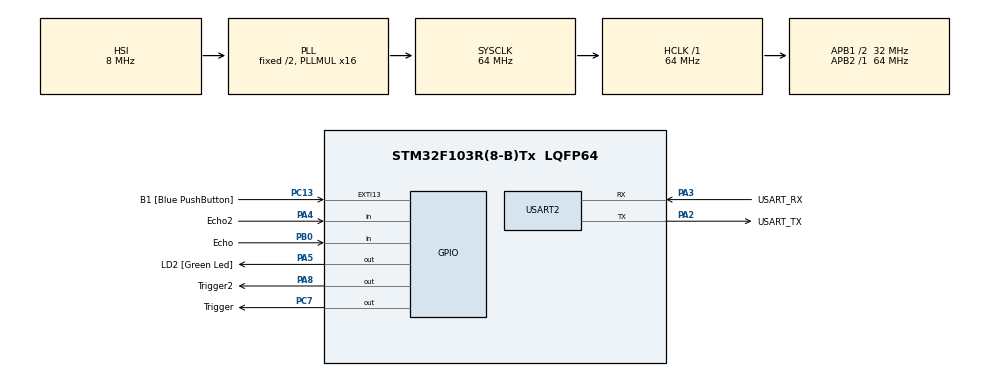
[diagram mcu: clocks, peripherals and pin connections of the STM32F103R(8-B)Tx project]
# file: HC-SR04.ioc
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Mcu.Family=STM32F1
Mcu.Name=STM32F103R(8-B)Tx
Mcu.Package=LQFP64
NVIC.EXTI15_10_IRQn=true\:0\:0\:false\:false\:true\:true\:true\:true
NVIC.PriorityGroup=NVIC_PRIORITYGROUP_4
PA13.GPIO_Label=TMS
PA13.Mode=Serial_Wire
PA13.Signal=SYS_JTMS-SWDIO
PA14.GPIO_Label=TCK
PA14.Mode=Serial_Wire
PA14.Signal=SYS_JTCK-SWCLK
PA2.GPIO_Label=USART_TX
PA2.GPIO_Mode=GPIO_MODE_AF_PP
PA2.GPIO_PuPd=GPIO_NOPULL
PA2.GPIO_Speed=GPIO_SPEED_FREQ_LOW
PA2.Mode=Asynchronous
PA2.Signal=USART2_TX
PA3.GPIO_Label=USART_RX
PA3.GPIO_Mode=GPIO_MODE_AF_PP
PA3.GPIO_PuPd=GPIO_NOPULL
PA3.GPIO_Speed=GPIO_SPEED_FREQ_LOW
PA3.Mode=Asynchronous
PA3.Signal=USART2_RX
PA4.GPIO_Label=Echo2
PA4.Signal=GPIO_Input
PA5.GPIO_Label=LD2 [Green Led]
PA5.GPIO_ModeDefaultOutputPP=GPIO_MODE_OUTPUT_PP
PA5.GPIO_PuPd=GPIO_NOPULL
PA5.GPIO_Speed=GPIO_SPEED_FREQ_LOW
PA5.Signal=GPIO_Output
PA8.GPIO_Label=Trigger2
PA8.Signal=GPIO_Output
PB0.GPIO_Label=Echo
PB0.Signal=GPIO_Input
PB3.GPIO_Label=SWO
PB3.Signal=SYS_JTDO-TRACESWO
PC13-TAMPER-RTC.GPIO_Label=B1 [Blue PushButton]
PC13-TAMPER-RTC.GPIO_PuPd=GPIO_NOPULL
PC13-TAMPER-RTC.Signal=GPXTI13
PC14-OSC32_IN.Signal=RCC_OSC32_IN
PC15-OSC32_OUT.Signal=RCC_OSC32_OUT
PC7.GPIO_Label=Trigger
PC7.Signal=GPIO_Output
PD0-OSC_IN.Signal=RCC_OSC_IN
PD1-OSC_OUT.Signal=RCC_OSC_OUT
ProjectManager.HeapSize=0x200
ProjectManager.StackSize=0x400
ProjectManager.TargetToolchain=STM32CubeIDE
RCC.AHBFreq_Value=64000000
RCC.APB1CLKDivider=RCC_HCLK_DIV2
RCC.APB1Freq_Value=32000000
RCC.APB1TimFreq_Value=64000000
RCC.APB2Freq_Value=64000000
RCC.APB2TimFreq_Value=64000000
RCC.HCLKFreq_Value=64000000
RCC.PLLMUL=RCC_PLL_MUL16
RCC.RTCClockSelection=RCC_RTCCLKSOURCE_LSE
RCC.SYSCLKFreq_VALUE=64000000
RCC.SYSCLKSource=RCC_SYSCLKSOURCE_PLLCLK
RCC.USBFreq_Value=64000000
TIM1.Prescaler=64-1
TIM2.Prescaler=64-1
USART2.VirtualMode=VM_ASYNC
VP_TIM1_VS_ClockSourceINT.Mode=Internal
VP_TIM2_VS_ClockSourceINT.Mode=Internal
board=NUCLEO-F103RB

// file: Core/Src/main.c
/* USER CODE BEGIN Header */
/**
 ******************************************************************************
 * @file           : main.c
 * @brief          : Main program body
 ******************************************************************************
 * @attention
 *
 * Copyright (c) 2025 STMicroelectronics.
 * All rights reserved.
 *
 * This software is licensed under terms that can be found in the LICENSE file
 * in the root directory of this software component.
 * If no LICENSE file comes with this software, it is provided AS-IS.
 *
 ******************************************************************************
 */
/* USER CODE END Header */
#include "main.h"
#include "stdio.h"

TIM_HandleTypeDef htim1;
TIM_HandleTypeDef htim2;

UART_HandleTypeDef huart2;

/* USER CODE BEGIN PV */
int HIGH = 1;
int LOW = 0;
/* USER CODE END PV */

void SystemClock_Config(void);
static void MX_GPIO_Init(void);
static void MX_USART2_UART_Init(void);
static void MX_TIM1_Init(void);
static void MX_TIM2_Init(void);

/* USER CODE BEGIN 0 */
#ifdef __GNUC__
#define PUTCHAR_PROTOTYPE int __io_putchar(int ch)
#else
#define PUTCHAR_PROTOTYPE int fputc(int ch, FILE *f)
#endif

PUTCHAR_PROTOTYPE {
	if (ch == '\n')
		HAL_UART_Transmit(&huart2, (uint8_t*) "\r", 1, 0xFFFF);

	HAL_UART_Transmit(&huart2, (uint8_t*) &ch, 1, 0xFFFF);

	return ch;

}

//void timer_start(void) {
//	HAL_TIM_Base_Start(&htim1);
//}
void timer_start(TIM_HandleTypeDef * htim) {
	HAL_TIM_Base_Start(htim);
}

//void delay_us(uint16_t us) {
//	__HAL_TIM_SET_COUNTER(&htim1, 0); // initislize counter to start from 0
//	while ((__HAL_TIM_GET_COUNTER(&htim1)) < us)
//		; // wait count until us
//}

void delay_us(uint16_t us, TIM_HandleTypeDef * htim) {
	__HAL_TIM_SET_COUNTER(htim, 0); // initislize counter to start from 0
	while ((__HAL_TIM_GET_COUNTER(htim)) < us)
		; // wait count until us
}

//////////////////////////////////
//void trig1(GPIO_TypeDef* GPIO_Port, uint16_t GPIO_Pin) {
//	HAL_GPIO_WritePin(Trigger_GPIO_Port, Trigger_Pin, HIGH);
//
//	delay_us(10);
//	HAL_GPIO_WritePin(Trigger_GPIO_Port, Trigger_Pin, LOW);
//}

//void trig(GPIO_TypeDef* GPIO_Port, uint16_t GPIO_Pin) {
//	HAL_GPIO_WritePin(GPIO_Port, GPIO_Pin, HIGH);
//
//	delay_us(10);
//	HAL_GPIO_WritePin(GPIO_Port, GPIO_Pin, LOW);
//}

void trig(GPIO_TypeDef* GPIO_Port, uint16_t GPIO_Pin, TIM_HandleTypeDef * htim) {
	HAL_GPIO_WritePin(GPIO_Port, GPIO_Pin, HIGH);

	delay_us(10,htim);
	HAL_GPIO_WritePin(GPIO_Port, GPIO_Pin, LOW);
}

/**
 * @brief echo 신호가 HIGH를 유지하는 시간을 (㎲)단위로 측정하여 리턴한다.
 * @param no param(void)
 */
//long unsigned int echo(void) {
//	long unsigned int echo = 0;
//
//	while (HAL_GPIO_ReadPin(Echo_GPIO_Port, Echo_Pin) == LOW) {
//	}
//	__HAL_TIM_SET_COUNTER(&htim1, 0);
//	while (HAL_GPIO_ReadPin(Echo_GPIO_Port, Echo_Pin) == HIGH)
//		;
//	echo = __HAL_TIM_GET_COUNTER(&htim1);
//	if (echo >= 240 && echo <= 23000)
//		return echo;
//	else
//		return 0;
//}

//long unsigned int echo(GPIO_TypeDef* GPIO_Port, uint16_t GPIO_Pin) {
//	long unsigned int echo = 0;
//
//	while (HAL_GPIO_ReadPin(GPIO_Port, GPIO_Pin) == LOW) {
//	}
//	__HAL_TIM_SET_COUNTER(&htim1, 0);
//	while (HAL_GPIO_ReadPin(GPIO_Port, GPIO_Pin) == HIGH)
//		;
//	echo = __HAL_TIM_GET_COUNTER(&htim1);
//	if (echo >= 240 && echo <= 23000)
//		return echo;
//	else
//		return 0;
//}

long unsigned int echo(GPIO_TypeDef* GPIO_Port, uint16_t GPIO_Pin, TIM_HandleTypeDef * htim) {
	long unsigned int echo = 0;

	while (HAL_GPIO_ReadPin(GPIO_Port, GPIO_Pin) == LOW) {
	}
	__HAL_TIM_SET_COUNTER(htim, 0);
	while (HAL_GPIO_ReadPin(GPIO_Port, GPIO_Pin) == HIGH)
		;
	echo = __HAL_TIM_GET_COUNTER(htim);
	if (echo >= 240 && echo <= 23000)
		return echo;
	else
		return 0;
}
/* USER CODE END 0 */

int main(void)
{

  /* MCU Configuration--------------------------------------------------------*/

  /* Reset of all peripherals, Initializes the Flash interface and the Systick. */
  HAL_Init();

  /* Configure the system clock */
  SystemClock_Config();

  /* Initialize all configured peripherals */
  MX_GPIO_Init();
  MX_USART2_UART_Init();
  MX_TIM1_Init();
  MX_TIM2_Init();
  /* USER CODE BEGIN 2 */

	//timer_start();

	timer_start(&htim1);
	timer_start(&htim2);

	printf("Ranging with HC-SR04\n");
	long unsigned int echo_time_right;
	long unsigned int echo_time_left;
	int dist_right;
	int dist_left;

  /* USER CODE END 2 */

  /* Infinite loop */
  /* USER CODE BEGIN WHILE */
	while (1) {
		//HAL_UART_Receive(&huart2, &ch, 1, HAL_MAX_DELAY);

//	    trig();
//	    echo_time = echo();
//	    if( echo_time != 0){
//	        dist = (int)(17 * echo_time / 100);
//	        printf("Distance = %d(mm)\n", dist);
//	        HAL_Delay(1000);
//	    }
//	    else {
//	    	printf("Out of Range!\n");
//	    	HAL_Delay(1000);
//	    }

		trig(Trigger_GPIO_Port,Trigger_Pin,&htim1);
		echo_time_right = echo(Echo_GPIO_Port, Echo_Pin,&htim1);

		trig(Trigger2_GPIO_Port,Trigger2_Pin,&htim2);
		echo_time_left = echo(Echo2_GPIO_Port, Echo2_Pin,&htim2);

	    if( echo_time_right != 0 || echo_time_left !=0){
	        dist_right = (int)(17 * echo_time_right / 100);
	        dist_left = (int)(17 * echo_time_left / 100);
	        printf("1: Distance = %d(mm) | 2: Distance = %d(mm)\n", dist_right,dist_left);
	        HAL_Delay(500);
	    }
	    else {
	    	printf("Out of Range!\n");
	    	HAL_Delay(500);
	    }
    /* USER CODE END WHILE */

	}
}

void SystemClock_Config(void)
{
  RCC_OscInitTypeDef RCC_OscInitStruct = {0};
  RCC_ClkInitTypeDef RCC_ClkInitStruct = {0};

  /** Initializes the RCC Oscillators according to the specified parameters
  * in the RCC_OscInitTypeDef structure.
  */
  RCC_OscInitStruct.OscillatorType = RCC_OSCILLATORTYPE_HSI;
  RCC_OscInitStruct.HSIState = RCC_HSI_ON;
  RCC_OscInitStruct.HSICalibrationValue = RCC_HSICALIBRATION_DEFAULT;
  RCC_OscInitStruct.PLL.PLLState = RCC_PLL_ON;
  RCC_OscInitStruct.PLL.PLLSource = RCC_PLLSOURCE_HSI_DIV2;
  RCC_OscInitStruct.PLL.PLLMUL = RCC_PLL_MUL16;
  if (HAL_RCC_OscConfig(&RCC_OscInitStruct) != HAL_OK)
  {
    Error_Handler();
  }

  /** Initializes the CPU, AHB and APB buses clocks
  */
  RCC_ClkInitStruct.ClockType = RCC_CLOCKTYPE_HCLK|RCC_CLOCKTYPE_SYSCLK
                              |RCC_CLOCKTYPE_PCLK1|RCC_CLOCKTYPE_PCLK2;
  RCC_ClkInitStruct.SYSCLKSource = RCC_SYSCLKSOURCE_PLLCLK;
  RCC_ClkInitStruct.AHBCLKDivider = RCC_SYSCLK_DIV1;
  RCC_ClkInitStruct.APB1CLKDivider = RCC_HCLK_DIV2;
  RCC_ClkInitStruct.APB2CLKDivider = RCC_HCLK_DIV1;

  if (HAL_RCC_ClockConfig(&RCC_ClkInitStruct, FLASH_LATENCY_2) != HAL_OK)
  {
    Error_Handler();
  }
}

static void MX_TIM1_Init(void)
{

  TIM_ClockConfigTypeDef sClockSourceConfig = {0};
  TIM_MasterConfigTypeDef sMasterConfig = {0};

  htim1.Instance = TIM1;
  htim1.Init.Prescaler = 64-1;
  htim1.Init.CounterMode = TIM_COUNTERMODE_UP;
  htim1.Init.Period = 65535;
  htim1.Init.ClockDivision = TIM_CLOCKDIVISION_DIV1;
  htim1.Init.RepetitionCounter = 0;
  htim1.Init.AutoReloadPreload = TIM_AUTORELOAD_PRELOAD_DISABLE;
  if (HAL_TIM_Base_Init(&htim1) != HAL_OK)
  {
    Error_Handler();
  }
  sClockSourceConfig.ClockSource = TIM_CLOCKSOURCE_INTERNAL;
  if (HAL_TIM_ConfigClockSource(&htim1, &sClockSourceConfig) != HAL_OK)
  {
    Error_Handler();
  }
  sMasterConfig.MasterOutputTrigger = TIM_TRGO_RESET;
  sMasterConfig.MasterSlaveMode = TIM_MASTERSLAVEMODE_DISABLE;
  if (HAL_TIMEx_MasterConfigSynchronization(&htim1, &sMasterConfig) != HAL_OK)
  {
    Error_Handler();
  }

}

static void MX_TIM2_Init(void)
{

  TIM_ClockConfigTypeDef sClockSourceConfig = {0};
  TIM_MasterConfigTypeDef sMasterConfig = {0};

  htim2.Instance = TIM2;
  htim2.Init.Prescaler = 64-1;
  htim2.Init.CounterMode = TIM_COUNTERMODE_UP;
  htim2.Init.Period = 65535;
  htim2.Init.ClockDivision = TIM_CLOCKDIVISION_DIV1;
  htim2.Init.AutoReloadPreload = TIM_AUTORELOAD_PRELOAD_DISABLE;
  if (HAL_TIM_Base_Init(&htim2) != HAL_OK)
  {
    Error_Handler();
  }
  sClockSourceConfig.ClockSource = TIM_CLOCKSOURCE_INTERNAL;
  if (HAL_TIM_ConfigClockSource(&htim2, &sClockSourceConfig) != HAL_OK)
  {
    Error_Handler();
  }
  sMasterConfig.MasterOutputTrigger = TIM_TRGO_RESET;
  sMasterConfig.MasterSlaveMode = TIM_MASTERSLAVEMODE_DISABLE;
  if (HAL_TIMEx_MasterConfigSynchronization(&htim2, &sMasterConfig) != HAL_OK)
  {
    Error_Handler();
  }

}

static void MX_USART2_UART_Init(void)
{

  huart2.Instance = USART2;
  huart2.Init.BaudRate = 115200;
  huart2.Init.WordLength = UART_WORDLENGTH_8B;
  huart2.Init.StopBits = UART_STOPBITS_1;
  huart2.Init.Parity = UART_PARITY_NONE;
  huart2.Init.Mode = UART_MODE_TX_RX;
  huart2.Init.HwFlowCtl = UART_HWCONTROL_NONE;
  huart2.Init.OverSampling = UART_OVERSAMPLING_16;
  if (HAL_UART_Init(&huart2) != HAL_OK)
  {
    Error_Handler();
  }

}

static void MX_GPIO_Init(void)
{
  GPIO_InitTypeDef GPIO_InitStruct = {0};

  /* GPIO Ports Clock Enable */
  __HAL_RCC_GPIOC_CLK_ENABLE();
  __HAL_RCC_GPIOD_CLK_ENABLE();
  __HAL_RCC_GPIOA_CLK_ENABLE();
  __HAL_RCC_GPIOB_CLK_ENABLE();

  /*Configure GPIO pin Output Level */
  HAL_GPIO_WritePin(GPIOA, LD2_Pin|Trigger2_Pin, GPIO_PIN_RESET);

  /*Configure GPIO pin Output Level */
  HAL_GPIO_WritePin(Trigger_GPIO_Port, Trigger_Pin, GPIO_PIN_RESET);

  /*Configure GPIO pin : B1_Pin */
  GPIO_InitStruct.Pin = B1_Pin;
  GPIO_InitStruct.Mode = GPIO_MODE_IT_RISING;
  GPIO_InitStruct.Pull = GPIO_NOPULL;
  HAL_GPIO_Init(B1_GPIO_Port, &GPIO_InitStruct);

  /*Configure GPIO pin : Echo2_Pin */
  GPIO_InitStruct.Pin = Echo2_Pin;
  GPIO_InitStruct.Mode = GPIO_MODE_INPUT;
  GPIO_InitStruct.Pull = GPIO_NOPULL;
  HAL_GPIO_Init(Echo2_GPIO_Port, &GPIO_InitStruct);

  /*Configure GPIO pins : LD2_Pin Trigger2_Pin */
  GPIO_InitStruct.Pin = LD2_Pin|Trigger2_Pin;
  GPIO_InitStruct.Mode = GPIO_MODE_OUTPUT_PP;
  GPIO_InitStruct.Pull = GPIO_NOPULL;
  GPIO_InitStruct.Speed = GPIO_SPEED_FREQ_LOW;
  HAL_GPIO_Init(GPIOA, &GPIO_InitStruct);

  /*Configure GPIO pin : Echo_Pin */
  GPIO_InitStruct.Pin = Echo_Pin;
  GPIO_InitStruct.Mode = GPIO_MODE_INPUT;
  GPIO_InitStruct.Pull = GPIO_NOPULL;
  HAL_GPIO_Init(Echo_GPIO_Port, &GPIO_InitStruct);

  /*Configure GPIO pin : Trigger_Pin */
  GPIO_InitStruct.Pin = Trigger_Pin;
  GPIO_InitStruct.Mode = GPIO_MODE_OUTPUT_PP;
  GPIO_InitStruct.Pull = GPIO_NOPULL;
  GPIO_InitStruct.Speed = GPIO_SPEED_FREQ_LOW;
  HAL_GPIO_Init(Trigger_GPIO_Port, &GPIO_InitStruct);

  /* EXTI interrupt init*/
  HAL_NVIC_SetPriority(EXTI15_10_IRQn, 0, 0);
  HAL_NVIC_EnableIRQ(EXTI15_10_IRQn);

}

void Error_Handler(void)
{
	__disable_irq();
	while (1) {
	}
}
